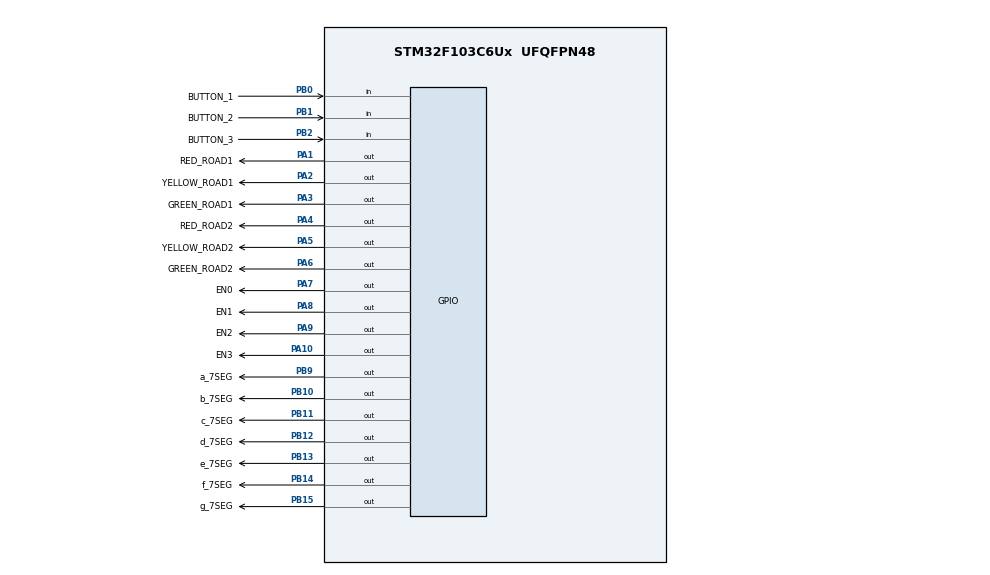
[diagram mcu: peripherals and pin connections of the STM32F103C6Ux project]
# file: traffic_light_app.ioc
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Mcu.Family=STM32F1
Mcu.Name=STM32F103C6Ux
Mcu.Package=UFQFPN48
NVIC.PriorityGroup=NVIC_PRIORITYGROUP_4
NVIC.TIM2_IRQn=true\:0\:0\:false\:false\:true\:true\:true
PA1.GPIO_Label=RED_ROAD1
PA1.Signal=GPIO_Output
PA10.GPIO_Label=EN3
PA10.Signal=GPIO_Output
PA2.GPIO_Label=YELLOW_ROAD1
PA2.Signal=GPIO_Output
PA3.GPIO_Label=GREEN_ROAD1
PA3.Signal=GPIO_Output
PA4.GPIO_Label=RED_ROAD2
PA4.Signal=GPIO_Output
PA5.GPIO_Label=YELLOW_ROAD2
PA5.Signal=GPIO_Output
PA6.GPIO_Label=GREEN_ROAD2
PA6.Signal=GPIO_Output
PA7.GPIO_Label=EN0
PA7.Signal=GPIO_Output
PA8.GPIO_Label=EN1
PA8.Signal=GPIO_Output
PA9.GPIO_Label=EN2
PA9.Signal=GPIO_Output
PB0.GPIO_Label=BUTTON_1
PB0.GPIO_PuPd=GPIO_PULLUP
PB0.Signal=GPIO_Input
PB1.GPIO_Label=BUTTON_2
PB1.GPIO_PuPd=GPIO_PULLUP
PB1.Signal=GPIO_Input
PB10.GPIO_Label=b_7SEG
PB10.Signal=GPIO_Output
PB11.GPIO_Label=c_7SEG
PB11.Signal=GPIO_Output
PB12.GPIO_Label=d_7SEG
PB12.Signal=GPIO_Output
PB13.GPIO_Label=e_7SEG
PB13.Signal=GPIO_Output
PB14.GPIO_Label=f_7SEG
PB14.Signal=GPIO_Output
PB15.GPIO_Label=g_7SEG
PB15.Signal=GPIO_Output
PB2.GPIO_Label=BUTTON_3
PB2.GPIO_PuPd=GPIO_PULLUP
PB2.Signal=GPIO_Input
PB9.GPIO_Label=a_7SEG
PB9.Signal=GPIO_Output
ProjectManager.HeapSize=0x200
ProjectManager.StackSize=0x400
ProjectManager.TargetToolchain=STM32CubeIDE
RCC.APB1Freq_Value=8000000
RCC.APB2Freq_Value=8000000
TIM2.Period=9
TIM2.Prescaler=7999
VP_SYS_VS_ND.Mode=No_Debug
VP_TIM2_VS_ClockSourceINT.Mode=Internal
board=custom

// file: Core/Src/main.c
/* USER CODE BEGIN Header */
/**
  ******************************************************************************
  * @file           : main.c
  * @brief          : Main program body
  ******************************************************************************
  * @attention
  *
  * <h2><center>&copy; Copyright (c) 2022 STMicroelectronics.
  * All rights reserved.</center></h2>
  *
  * This software component is licensed by ST under BSD 3-Clause license,
  * the "License"; You may not use this file except in compliance with the
  * License. You may obtain a copy of the License at:
  *                        opensource.org/licenses/BSD-3-Clause
  *
  ******************************************************************************
  */
/* USER CODE END Header */
#include "main.h"

/* USER CODE BEGIN Includes */
#include "timer.h"
#include "input_processing.h"
#include "input_reading.h"
#include "display7SEG.h"
#include "traffic_light.h"
#include "global.h"

/* USER CODE END Includes */

TIM_HandleTypeDef htim2;

void SystemClock_Config(void);
static void MX_GPIO_Init(void);
static void MX_TIM2_Init(void);

int main(void)
{

  /* MCU Configuration--------------------------------------------------------*/

  /* Reset of all peripherals, Initializes the Flash interface and the Systick. */
  HAL_Init();

  /* Configure the system clock */
  SystemClock_Config();

  /* Initialize all configured peripherals */
  MX_GPIO_Init();
  MX_TIM2_Init();
  /* USER CODE BEGIN 2 */
  HAL_TIM_Base_Start_IT(&htim2);
  /* USER CODE END 2 */

  /* Infinite loop */
  /* USER CODE BEGIN WHILE */
  while (1)
  {
	  fsm_automatic_run1();
	  fsm_automatic_run2();
	  fsm_for_7SEG();
	  fsm_for_input_processing();
	  fsm_blinking_mode();

    /* USER CODE END WHILE */

    /* USER CODE BEGIN 3 */
	  //HAL_GPIO_TogglePin(GPIOA, GREEN_ROAD1_Pin);
	  //HAL_Delay(1000);
  }
  /* USER CODE END 3 */
}

void SystemClock_Config(void)
{
  RCC_OscInitTypeDef RCC_OscInitStruct = {0};
  RCC_ClkInitTypeDef RCC_ClkInitStruct = {0};

  /** Initializes the RCC Oscillators according to the specified parameters
  * in the RCC_OscInitTypeDef structure.
  */
  RCC_OscInitStruct.OscillatorType = RCC_OSCILLATORTYPE_HSI;
  RCC_OscInitStruct.HSIState = RCC_HSI_ON;
  RCC_OscInitStruct.HSICalibrationValue = RCC_HSICALIBRATION_DEFAULT;
  RCC_OscInitStruct.PLL.PLLState = RCC_PLL_NONE;
  if (HAL_RCC_OscConfig(&RCC_OscInitStruct) != HAL_OK)
  {
    Error_Handler();
  }
  /** Initializes the CPU, AHB and APB buses clocks
  */
  RCC_ClkInitStruct.ClockType = RCC_CLOCKTYPE_HCLK|RCC_CLOCKTYPE_SYSCLK
                              |RCC_CLOCKTYPE_PCLK1|RCC_CLOCKTYPE_PCLK2;
  RCC_ClkInitStruct.SYSCLKSource = RCC_SYSCLKSOURCE_HSI;
  RCC_ClkInitStruct.AHBCLKDivider = RCC_SYSCLK_DIV1;
  RCC_ClkInitStruct.APB1CLKDivider = RCC_HCLK_DIV1;
  RCC_ClkInitStruct.APB2CLKDivider = RCC_HCLK_DIV1;

  if (HAL_RCC_ClockConfig(&RCC_ClkInitStruct, FLASH_LATENCY_0) != HAL_OK)
  {
    Error_Handler();
  }
}

static void MX_TIM2_Init(void)
{

  TIM_ClockConfigTypeDef sClockSourceConfig = {0};
  TIM_MasterConfigTypeDef sMasterConfig = {0};

  htim2.Instance = TIM2;
  htim2.Init.Prescaler = 7999;
  htim2.Init.CounterMode = TIM_COUNTERMODE_UP;
  htim2.Init.Period = 9;
  htim2.Init.ClockDivision = TIM_CLOCKDIVISION_DIV1;
  htim2.Init.AutoReloadPreload = TIM_AUTORELOAD_PRELOAD_DISABLE;
  if (HAL_TIM_Base_Init(&htim2) != HAL_OK)
  {
    Error_Handler();
  }
  sClockSourceConfig.ClockSource = TIM_CLOCKSOURCE_INTERNAL;
  if (HAL_TIM_ConfigClockSource(&htim2, &sClockSourceConfig) != HAL_OK)
  {
    Error_Handler();
  }
  sMasterConfig.MasterOutputTrigger = TIM_TRGO_RESET;
  sMasterConfig.MasterSlaveMode = TIM_MASTERSLAVEMODE_DISABLE;
  if (HAL_TIMEx_MasterConfigSynchronization(&htim2, &sMasterConfig) != HAL_OK)
  {
    Error_Handler();
  }

}

static void MX_GPIO_Init(void)
{
  GPIO_InitTypeDef GPIO_InitStruct = {0};

  /* GPIO Ports Clock Enable */
  __HAL_RCC_GPIOA_CLK_ENABLE();
  __HAL_RCC_GPIOB_CLK_ENABLE();

  /*Configure GPIO pin Output Level */
  HAL_GPIO_WritePin(GPIOA, RED_ROAD1_Pin|YELLOW_ROAD1_Pin|GREEN_ROAD1_Pin|RED_ROAD2_Pin
                          |YELLOW_ROAD2_Pin|GREEN_ROAD2_Pin|EN0_Pin|EN1_Pin
                          |EN2_Pin|EN3_Pin, GPIO_PIN_RESET);

  /*Configure GPIO pin Output Level */
  HAL_GPIO_WritePin(GPIOB, b_7SEG_Pin|c_7SEG_Pin|d_7SEG_Pin|e_7SEG_Pin
                          |f_7SEG_Pin|g_7SEG_Pin|a_7SEG_Pin, GPIO_PIN_RESET);

  /*Configure GPIO pins : RED_ROAD1_Pin YELLOW_ROAD1_Pin GREEN_ROAD1_Pin RED_ROAD2_Pin
                           YELLOW_ROAD2_Pin GREEN_ROAD2_Pin EN0_Pin EN1_Pin
                           EN2_Pin EN3_Pin */
  GPIO_InitStruct.Pin = RED_ROAD1_Pin|YELLOW_ROAD1_Pin|GREEN_ROAD1_Pin|RED_ROAD2_Pin
                          |YELLOW_ROAD2_Pin|GREEN_ROAD2_Pin|EN0_Pin|EN1_Pin
                          |EN2_Pin|EN3_Pin;
  GPIO_InitStruct.Mode = GPIO_MODE_OUTPUT_PP;
  GPIO_InitStruct.Pull = GPIO_NOPULL;
  GPIO_InitStruct.Speed = GPIO_SPEED_FREQ_LOW;
  HAL_GPIO_Init(GPIOA, &GPIO_InitStruct);

  /*Configure GPIO pins : BUTTON_1_Pin BUTTON_2_Pin BUTTON_3_Pin */
  GPIO_InitStruct.Pin = BUTTON_1_Pin|BUTTON_2_Pin|BUTTON_3_Pin;
  GPIO_InitStruct.Mode = GPIO_MODE_INPUT;
  GPIO_InitStruct.Pull = GPIO_PULLUP;
  HAL_GPIO_Init(GPIOB, &GPIO_InitStruct);

  /*Configure GPIO pins : b_7SEG_Pin c_7SEG_Pin d_7SEG_Pin e_7SEG_Pin
                           f_7SEG_Pin g_7SEG_Pin a_7SEG_Pin */
  GPIO_InitStruct.Pin = b_7SEG_Pin|c_7SEG_Pin|d_7SEG_Pin|e_7SEG_Pin
                          |f_7SEG_Pin|g_7SEG_Pin|a_7SEG_Pin;
  GPIO_InitStruct.Mode = GPIO_MODE_OUTPUT_PP;
  GPIO_InitStruct.Pull = GPIO_NOPULL;
  GPIO_InitStruct.Speed = GPIO_SPEED_FREQ_LOW;
  HAL_GPIO_Init(GPIOB, &GPIO_InitStruct);

}

/* USER CODE BEGIN 4 */
void HAL_TIM_PeriodElapsedCallback(TIM_HandleTypeDef * htim ){
	timer_run();
	button_reading();
}
/* USER CODE END 4 */

void Error_Handler(void)
{
  __disable_irq();
  while (1)
  {
  }
}

/************************ (C) COPYRIGHT STMicroelectronics *****END OF FILE****/
